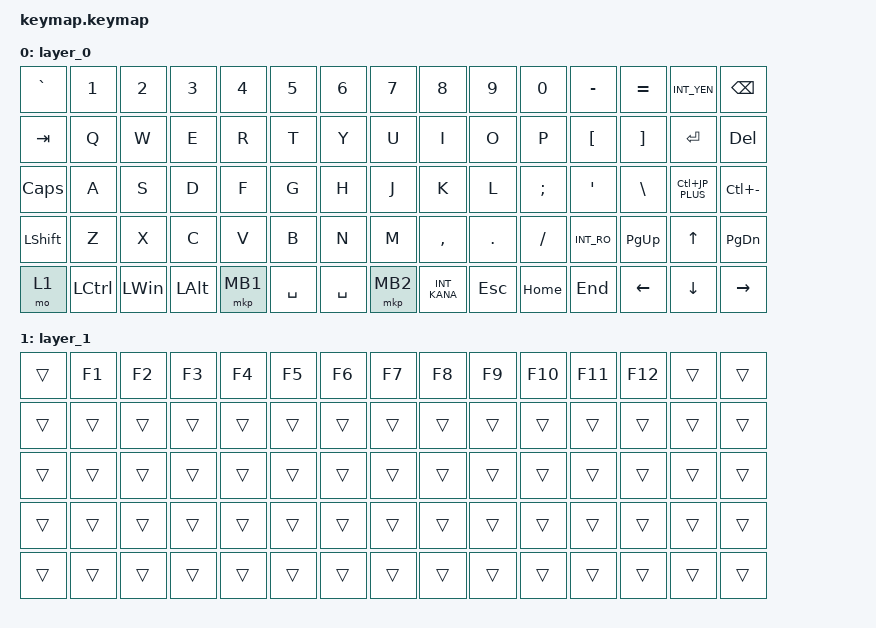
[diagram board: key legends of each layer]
#include <behaviors.dtsi>
#include <dt-bindings/zmk/keys.h>
#include <dt-bindings/zmk/pointing.h>

// OS設定を日本語キーボードのまま使用するための変換定義

#define JP_DQUOTE       AT                // "
#define JP_AMPERSAND    CARET             // &
#define JP_QUOTE        AMPERSAND         // '
#define JP_EQUAL        UNDER             // =
#define JP_CARET        EQUAL             // ^
#define JP_YEN          INT_YEN           // ¥
#define JP_RO           INT_RO            // ろ \ (Shiftで _)
#define JP_PLUS         COLON             // +
#define JP_TILDE        PLUS              // ~
#define JP_PIPE         LS(JP_YEN)        // |
#define JP_AT           LEFT_BRACKET      // @
#define JP_COLON        SINGLE_QUOTE      // :
#define JP_ASTERISK     DOUBLE_QUOTES     // *
#define JP_BACKQUOTE    LEFT_BRACE        // `
#define JP_UNDERSCORE   LS(JP_RO)         // _
#define JP_LBRACKET     RIGHT_BRACKET     // [
#define JP_RBRACKET     BACKSLASH         // ]
#define JP_LPAREN       ASTERISK          // (
#define JP_RPAREN       LEFT_PARENTHESIS  // )
#define JP_LBRACE       RIGHT_BRACE       // {
#define JP_RBRACE       PIPE              // }
#define JP_KANA         INT_KANA          // カタ/ひら ローマ字 (Windows)
#define JP_EISU         CAPSLOCK          // 英数 (Windows)
#define JP_HANZEN       GRAVE             // 半角/全角

/ {
    keymap {
        compatible = "zmk,keymap";

        layer_0 {
            bindings = <
&kp JP_HANZEN       &kp NUMBER_1      &kp NUMBER_2  &kp NUMBER_3  &kp NUMBER_4  &kp NUMBER_5  &kp NUMBER_6  &kp NUMBER_7  &kp NUMBER_8       &kp NUMBER_9  &kp NUMBER_0   &kp MINUS      &kp JP_CARET          &kp JP_YEN  &kp BACKSPACE
&kp TAB         &kp Q             &kp W         &kp E         &kp R         &kp T         &kp Y         &kp U         &kp I              &kp O         &kp P          &kp JP_AT   &kp JP_LBRACKET   &kp ENTER      &kp DEL
&kp CAPSLOCK    &kp A             &kp S         &kp D         &kp F         &kp G         &kp H         &kp J         &kp K              &kp L         &kp SEMICOLON  &kp JP_COLON      &kp JP_RBRACKET  &kp LC(JP_PLUS)  &kp LC(MINUS)
&kp LEFT_SHIFT  &kp Z             &kp X         &kp C         &kp V         &kp B         &kp N         &kp M         &kp COMMA          &kp PERIOD    &kp SLASH      &kp JP_RO   &kp PAGE_UP        &kp UP         &kp PAGE_DOWN
&mo 1           &kp LEFT_CONTROL  &kp LEFT_WIN  &kp LEFT_ALT  &mkp MB1      &kp SPACE     &kp SPACE     &mkp MB2      &kp INT_KANA       &kp ESCAPE    &kp HOME       &kp END        &kp LEFT           &kp DOWN       &kp RIGHT
            >;
        };

        layer_1 {
            bindings = <
&trans  &kp F1  &kp F2  &kp F3  &kp F4  &kp F5  &kp F6  &kp F7  &kp F8  &kp F9  &kp F10  &kp F11  &kp F12  &trans  &trans
&trans  &trans  &trans  &trans  &trans  &trans  &trans  &trans  &trans  &trans  &trans   &trans   &trans   &trans  &trans
&trans  &trans  &trans  &trans  &trans  &trans  &trans  &trans  &trans  &trans  &trans   &trans   &trans   &trans  &trans
&trans  &trans  &trans  &trans  &trans  &trans  &trans  &trans  &trans  &trans  &trans   &trans   &trans   &trans  &trans
&trans  &trans  &trans  &trans  &trans  &trans  &trans  &trans  &trans  &trans  &trans   &trans   &trans   &trans  &trans
            >;
        };
    };
};
